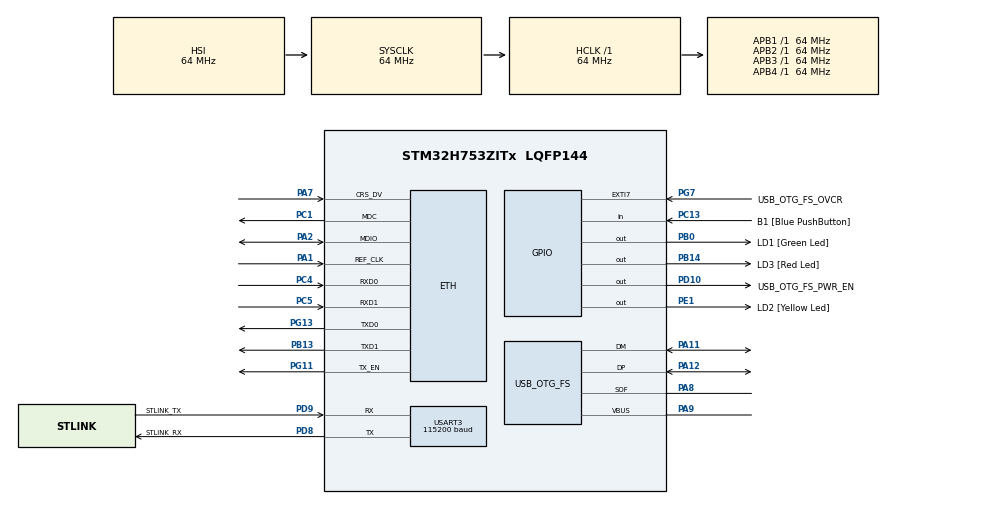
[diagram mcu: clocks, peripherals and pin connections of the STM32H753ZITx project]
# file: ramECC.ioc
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CORTEX_M7.CPU_DCache=Disabled
CORTEX_M7.CPU_ICache=Disabled
CORTEX_M7.MPU_Control=__NULL
ETH.ETH_RX_DESC_CNT=4
ETH.ETH_TX_DESC_CNT=4
ETH.MACAddr=00\:80\:E1\:00\:00\:00
ETH.MediaInterface=HAL_ETH_RMII_MODE
ETH.RxBuffAddress=0x30040200
ETH.RxBuffLen=1524
ETH.RxDescAddress=0x30040000
ETH.TxDescAddress=0x30040060
Mcu.Family=STM32H7
Mcu.Name=STM32H753ZITx
Mcu.Package=LQFP144
NVIC.PriorityGroup=NVIC_PRIORITYGROUP_4
PA1.Mode=RMII
PA1.Signal=ETH_REF_CLK
PA11.Mode=Device_Only
PA11.Signal=USB_OTG_FS_DM
PA12.Mode=Device_Only
PA12.Signal=USB_OTG_FS_DP
PA2.Mode=RMII
PA2.Signal=ETH_MDIO
PA7.Mode=RMII
PA7.Signal=ETH_CRS_DV
PA8.Mode=Activate_SOF_FS
PA8.Signal=USB_OTG_FS_SOF
PA9.Mode=Activate_VBUS
PA9.Signal=USB_OTG_FS_VBUS
PB0.GPIO_Label=LD1 [Green Led]
PB0.Signal=GPIO_Output
PB13.Mode=RMII
PB13.Signal=ETH_TXD1
PB14.GPIO_Label=LD3 [Red Led]
PB14.Signal=GPIO_Output
PC1.Mode=RMII
PC1.Signal=ETH_MDC
PC13.GPIO_Label=B1 [Blue PushButton]
PC13.Signal=GPIO_Input
PC14-OSC32_IN\ (OSC32_IN).Mode=LSE-External-Oscillator
PC14-OSC32_IN\ (OSC32_IN).Signal=RCC_OSC32_IN
PC15-OSC32_OUT\ (OSC32_OUT).Mode=LSE-External-Oscillator
PC15-OSC32_OUT\ (OSC32_OUT).Signal=RCC_OSC32_OUT
PC4.Mode=RMII
PC4.Signal=ETH_RXD0
PC5.Mode=RMII
PC5.Signal=ETH_RXD1
PD10.GPIO_Label=USB_OTG_FS_PWR_EN
PD10.Signal=GPIO_Output
PD8.GPIO_Label=STLINK_RX
PD8.Mode=Asynchronous
PD8.Signal=USART3_TX
PD9.GPIO_Label=STLINK_TX
PD9.Mode=Asynchronous
PD9.Signal=USART3_RX
PE1.GPIO_Label=LD2 [Yellow Led]
PE1.Signal=GPIO_Output
PG11.Mode=RMII
PG11.Signal=ETH_TX_EN
PG13.Mode=RMII
PG13.Signal=ETH_TXD0
PG7.GPIO_Label=USB_OTG_FS_OVCR
PG7.Signal=GPXTI7
PH0-OSC_IN\ (PH0).Mode=HSE-External-Clock-Source
PH0-OSC_IN\ (PH0).Signal=RCC_OSC_IN
PH1-OSC_OUT\ (PH1).Signal=RCC_OSC_OUT
ProjectManager.HeapSize=0x200
ProjectManager.StackSize=0x400
ProjectManager.TargetToolchain=STM32CubeIDE
RAMECC.Instance-RAMECC1_Monitor1=RAMECC1_Monitor1
RAMECC.Instance-RAMECC1_Monitor2=RAMECC1_Monitor2
RAMECC.Instance-RAMECC1_Monitor3=RAMECC1_Monitor3
RAMECC.Instance-RAMECC1_Monitor4=RAMECC1_Monitor4
RAMECC.Instance-RAMECC1_Monitor5=RAMECC1_Monitor5
RAMECC.Instance-RAMECC2_Monitor1=RAMECC2_Monitor1
RAMECC.Instance-RAMECC2_Monitor2=RAMECC2_Monitor2
RAMECC.Instance-RAMECC2_Monitor3=RAMECC2_Monitor3
RAMECC.Instance-RAMECC2_Monitor4=RAMECC2_Monitor4
RAMECC.Instance-RAMECC2_Monitor5=RAMECC2_Monitor5
RAMECC.Instance-RAMECC3_Monitor1=RAMECC3_Monitor1
RAMECC.Instance-RAMECC3_Monitor2=RAMECC3_Monitor2
RCC.ADCFreq_Value=16125000
RCC.APB1Freq_Value=64000000
RCC.APB2Freq_Value=64000000
RCC.APB3Freq_Value=64000000
RCC.APB4Freq_Value=64000000
RCC.CortexFreq_Value=64000000
RCC.DIVM1=1
RCC.DIVN1=24
RCC.DIVQ1=4
RCC.HCLKFreq_Value=64000000
RCC.HSE_VALUE=8000000
RCC.PLLFRACN=0
RCC.PWR_Regulator_Voltage_Scale=PWR_REGULATOR_VOLTAGE_SCALE2
RCC.SYSCLKFreq_VALUE=64000000
RCC.USBFreq_Value=48000000
USART3.AutoBaudRateEnableParam=UART_ADVFEATURE_AUTOBAUDRATE_DISABLE
USART3.BaudRate=115200
USART3.ClockPrescaler=PRESCALER_DIV1
USART3.DMADisableonRxErrorParam=ADVFEATURE_DMA_ENABLEONRXERROR
USART3.DataInvertParam=ADVFEATURE_DATAINV_DISABLE
USART3.FIFOMode=FIFOMODE_DISABLE
USART3.MSBFirstParam=ADVFEATURE_MSBFIRST_DISABLE
USART3.Mode=MODE_TX_RX
USART3.OneBitSampling=UART_ONE_BIT_SAMPLE_DISABLE
USART3.OverSampling=UART_OVERSAMPLING_16
USART3.OverrunDisableParam=ADVFEATURE_OVERRUN_ENABLE
USART3.Parity=PARITY_NONE
USART3.RXFIFOThreshold=RXFIFO_THRESHOLD_1EIGHTHFULL
USART3.RxPinLevelInvertParam=ADVFEATURE_RXINV_DISABLE
USART3.StopBits=STOPBITS_1
USART3.SwapParam=ADVFEATURE_SWAP_DISABLE
USART3.TXFIFOThreshold=TXFIFO_THRESHOLD_1EIGHTHFULL
USART3.TxPinLevelInvertParam=ADVFEATURE_TXINV_DISABLE
USART3.VirtualMode-Asynchronous=VM_ASYNC
USART3.WordLength=WORDLENGTH_8B
USB_OTG_FS.Sof_enable=ENABLE
USB_OTG_FS.VirtualMode=Device_Only
USB_OTG_FS.battery_charging_enable=ENABLE
USB_OTG_FS.low_power_enable=DISABLE
USB_OTG_FS.lpm_enable=DISABLE
USB_OTG_FS.use_dedicated_ep1=DISABLE
USB_OTG_FS.vbus_sensing_enable=ENABLE
VP_RAMECC_VS_D1_1.Mode=RAMECC1_Monitor1
VP_RAMECC_VS_D1_2.Mode=RAMECC1_Monitor2
VP_RAMECC_VS_D1_3.Mode=RAMECC1_Monitor3
VP_RAMECC_VS_D1_4.Mode=RAMECC1_Monitor4
VP_RAMECC_VS_D1_5.Mode=RAMECC1_Monitor5
VP_RAMECC_VS_D2_1.Mode=RAMECC2_Monitor1
VP_RAMECC_VS_D2_2.Mode=RAMECC2_Monitor2
VP_RAMECC_VS_D2_3.Mode=RAMECC2_Monitor3
VP_RAMECC_VS_D2_4.Mode=RAMECC2_Monitor4
VP_RAMECC_VS_D2_5.Mode=RAMECC2_Monitor5
VP_RAMECC_VS_D3_1.Mode=RAMECC3_Monitor1
VP_RAMECC_VS_D3_2.Mode=RAMECC3_Monitor2
board=NUCLEO-H753ZI

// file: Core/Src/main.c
/* USER CODE BEGIN Header */
/**
  ******************************************************************************
  * @file           : main.c
  * @brief          : Main program body
  ******************************************************************************
  * @attention
  *
  * Copyright (c) 2024 STMicroelectronics.
  * All rights reserved.
  *
  * This software is licensed under terms that can be found in the LICENSE file
  * in the root directory of this software component.
  * If no LICENSE file comes with this software, it is provided AS-IS.
  *
  ******************************************************************************
  */
/* USER CODE END Header */
#include "main.h"
#include "string.h"

#if defined ( __ICCARM__ ) /*!< IAR Compiler */
#pragma location=0x30040000
ETH_DMADescTypeDef  DMARxDscrTab[ETH_RX_DESC_CNT]; /* Ethernet Rx DMA Descriptors */
#pragma location=0x30040060
ETH_DMADescTypeDef  DMATxDscrTab[ETH_TX_DESC_CNT]; /* Ethernet Tx DMA Descriptors */

#elif defined ( __CC_ARM )  /* MDK ARM Compiler */

__attribute__((at(0x30040000))) ETH_DMADescTypeDef  DMARxDscrTab[ETH_RX_DESC_CNT]; /* Ethernet Rx DMA Descriptors */
__attribute__((at(0x30040060))) ETH_DMADescTypeDef  DMATxDscrTab[ETH_TX_DESC_CNT]; /* Ethernet Tx DMA Descriptors */

#elif defined ( __GNUC__ ) /* GNU Compiler */
ETH_DMADescTypeDef DMARxDscrTab[ETH_RX_DESC_CNT] __attribute__((section(".RxDecripSection"))); /* Ethernet Rx DMA Descriptors */
ETH_DMADescTypeDef DMATxDscrTab[ETH_TX_DESC_CNT] __attribute__((section(".TxDecripSection")));   /* Ethernet Tx DMA Descriptors */

#endif

ETH_TxPacketConfig TxConfig;

ETH_HandleTypeDef heth;

RAMECC_HandleTypeDef hramecc1_m1;
RAMECC_HandleTypeDef hramecc1_m2;
RAMECC_HandleTypeDef hramecc1_m3;
RAMECC_HandleTypeDef hramecc1_m4;
RAMECC_HandleTypeDef hramecc1_m5;
RAMECC_HandleTypeDef hramecc2_m1;
RAMECC_HandleTypeDef hramecc2_m2;
RAMECC_HandleTypeDef hramecc2_m3;
RAMECC_HandleTypeDef hramecc2_m4;
RAMECC_HandleTypeDef hramecc2_m5;
RAMECC_HandleTypeDef hramecc3_m1;
RAMECC_HandleTypeDef hramecc3_m2;

UART_HandleTypeDef huart3;

PCD_HandleTypeDef hpcd_USB_OTG_FS;

void SystemClock_Config(void);
static void MX_GPIO_Init(void);
static void MX_ETH_Init(void);
static void MX_USART3_UART_Init(void);
static void MX_USB_OTG_FS_PCD_Init(void);
static void MX_RAMECC_Init(void);
/* USER CODE BEGIN PFP */
void enable_ramecc_monitor_notifications(RAMECC_HandleTypeDef *hramecc);
/* USER CODE END PFP */

/* USER CODE BEGIN 0 */
#define ITCM_START_ADDRESS 0x00000000
#define ITCM_END_ADDRESS   0x0000FFFF

#define DTCM_START_ADDRESS 0x20000000
#define DTCM_END_ADDRESS 0x2001FFFF

#define AXI_START_ADDRESS 0x24000000
#define AXI_END_ADDRESS 0x2407FFFF

#define SRAM1_START_ADDRESS 0x30000000
#define SRAM1_END_ADDRESS 0x3001FFFF

#define SRAM2_START_ADDRESS 0x30020000
#define SRAM2_END_ADDRESS 0x3003FFFF

#define SRAM3_START_ADDRESS 0x30040000
#define SRAM3_END_ADDRESS 0x30047FFF

#define SRAM4_START_ADDRESS 0x38000000
#define SRAM4_END_ADDRESS 0x3800FFFF

#define BACKUP_START_ADDRESS 0x38800000
#define BACKUP_END_ADDRESS 0x38800FFF

void read_RAM(volatile uint32_t *start, volatile uint32_t *end)
{
	volatile uint32_t value;

	while (start <= end)
	{
		value = *start;
		start++;
	}
}

void write_RAM(volatile uint32_t *start, volatile uint32_t *end)
{
	while (start <= end)
	{
		*start = 0;
		start++;
	}
}

void PerformMemoryCheck(void)
{
	read_RAM((volatile uint32_t *)ITCM_START_ADDRESS, (volatile uint32_t *)ITCM_END_ADDRESS);
	read_RAM((volatile uint32_t *)DTCM_START_ADDRESS, (volatile uint32_t *)DTCM_END_ADDRESS);
	read_RAM((volatile uint32_t *)AXI_START_ADDRESS, (volatile uint32_t *)AXI_END_ADDRESS);
	read_RAM((volatile uint32_t *)SRAM1_START_ADDRESS, (volatile uint32_t *)SRAM1_END_ADDRESS);
	read_RAM((volatile uint32_t *)SRAM2_START_ADDRESS, (volatile uint32_t *)SRAM2_END_ADDRESS);
	read_RAM((volatile uint32_t *)SRAM3_START_ADDRESS, (volatile uint32_t *)SRAM3_END_ADDRESS);
	read_RAM((volatile uint32_t *)SRAM4_START_ADDRESS, (volatile uint32_t *)SRAM4_END_ADDRESS);
	read_RAM((volatile uint32_t *)BACKUP_START_ADDRESS, (volatile uint32_t *)BACKUP_END_ADDRESS);
}

/* USER CODE END 0 */

int main(void)
{

  /* MCU Configuration--------------------------------------------------------*/

  /* Reset of all peripherals, Initializes the Flash interface and the Systick. */
  HAL_Init();

  /* Configure the system clock */
  SystemClock_Config();

  /* Initialize all configured peripherals */
  MX_GPIO_Init();
  MX_ETH_Init();
  MX_USART3_UART_Init();
  MX_USB_OTG_FS_PCD_Init();
  MX_RAMECC_Init();
  /* USER CODE BEGIN 2 */
  PerformMemoryCheck();
  /* USER CODE END 2 */

  /* Infinite loop */
  while (1)
  {

  }
}

void SystemClock_Config(void)
{
  RCC_OscInitTypeDef RCC_OscInitStruct = {0};
  RCC_ClkInitTypeDef RCC_ClkInitStruct = {0};

  /** Supply configuration update enable
  */
  HAL_PWREx_ConfigSupply(PWR_LDO_SUPPLY);

  /** Configure the main internal regulator output voltage
  */
  __HAL_PWR_VOLTAGESCALING_CONFIG(PWR_REGULATOR_VOLTAGE_SCALE2);

  while(!__HAL_PWR_GET_FLAG(PWR_FLAG_VOSRDY)) {}

  /** Initializes the RCC Oscillators according to the specified parameters
  * in the RCC_OscInitTypeDef structure.
  */
  RCC_OscInitStruct.OscillatorType = RCC_OSCILLATORTYPE_HSI|RCC_OSCILLATORTYPE_HSE;
  RCC_OscInitStruct.HSEState = RCC_HSE_BYPASS;
  RCC_OscInitStruct.HSIState = RCC_HSI_DIV1;
  RCC_OscInitStruct.HSICalibrationValue = RCC_HSICALIBRATION_DEFAULT;
  RCC_OscInitStruct.PLL.PLLState = RCC_PLL_ON;
  RCC_OscInitStruct.PLL.PLLSource = RCC_PLLSOURCE_HSE;
  RCC_OscInitStruct.PLL.PLLM = 1;
  RCC_OscInitStruct.PLL.PLLN = 24;
  RCC_OscInitStruct.PLL.PLLP = 2;
  RCC_OscInitStruct.PLL.PLLQ = 4;
  RCC_OscInitStruct.PLL.PLLR = 2;
  RCC_OscInitStruct.PLL.PLLRGE = RCC_PLL1VCIRANGE_3;
  RCC_OscInitStruct.PLL.PLLVCOSEL = RCC_PLL1VCOWIDE;
  RCC_OscInitStruct.PLL.PLLFRACN = 0;
  if (HAL_RCC_OscConfig(&RCC_OscInitStruct) != HAL_OK)
  {
    Error_Handler();
  }

  /** Initializes the CPU, AHB and APB buses clocks
  */
  RCC_ClkInitStruct.ClockType = RCC_CLOCKTYPE_HCLK|RCC_CLOCKTYPE_SYSCLK
                              |RCC_CLOCKTYPE_PCLK1|RCC_CLOCKTYPE_PCLK2
                              |RCC_CLOCKTYPE_D3PCLK1|RCC_CLOCKTYPE_D1PCLK1;
  RCC_ClkInitStruct.SYSCLKSource = RCC_SYSCLKSOURCE_HSI;
  RCC_ClkInitStruct.SYSCLKDivider = RCC_SYSCLK_DIV1;
  RCC_ClkInitStruct.AHBCLKDivider = RCC_HCLK_DIV1;
  RCC_ClkInitStruct.APB3CLKDivider = RCC_APB3_DIV1;
  RCC_ClkInitStruct.APB1CLKDivider = RCC_APB1_DIV1;
  RCC_ClkInitStruct.APB2CLKDivider = RCC_APB2_DIV1;
  RCC_ClkInitStruct.APB4CLKDivider = RCC_APB4_DIV1;

  if (HAL_RCC_ClockConfig(&RCC_ClkInitStruct, FLASH_LATENCY_1) != HAL_OK)
  {
    Error_Handler();
  }
}

static void MX_ETH_Init(void)
{

   static uint8_t MACAddr[6];

  heth.Instance = ETH;
  MACAddr[0] = 0x00;
  MACAddr[1] = 0x80;
  MACAddr[2] = 0xE1;
  MACAddr[3] = 0x00;
  MACAddr[4] = 0x00;
  MACAddr[5] = 0x00;
  heth.Init.MACAddr = &MACAddr[0];
  heth.Init.MediaInterface = HAL_ETH_RMII_MODE;
  heth.Init.TxDesc = DMATxDscrTab;
  heth.Init.RxDesc = DMARxDscrTab;
  heth.Init.RxBuffLen = 1524;

  if (HAL_ETH_Init(&heth) != HAL_OK)
  {
    Error_Handler();
  }

  memset(&TxConfig, 0 , sizeof(ETH_TxPacketConfig));
  TxConfig.Attributes = ETH_TX_PACKETS_FEATURES_CSUM | ETH_TX_PACKETS_FEATURES_CRCPAD;
  TxConfig.ChecksumCtrl = ETH_CHECKSUM_IPHDR_PAYLOAD_INSERT_PHDR_CALC;
  TxConfig.CRCPadCtrl = ETH_CRC_PAD_INSERT;

}

static void MX_RAMECC_Init(void)
{

  /* USER CODE BEGIN RAMECC_Init 0 */
  write_RAM((volatile uint32_t *)ITCM_START_ADDRESS, (volatile uint32_t *)ITCM_END_ADDRESS);
  write_RAM((volatile uint32_t *)DTCM_START_ADDRESS, (volatile uint32_t *)DTCM_END_ADDRESS);
  write_RAM((volatile uint32_t *)AXI_START_ADDRESS, (volatile uint32_t *)AXI_END_ADDRESS);
  write_RAM((volatile uint32_t *)SRAM1_START_ADDRESS, (volatile uint32_t *)SRAM1_END_ADDRESS);
  write_RAM((volatile uint32_t *)SRAM2_START_ADDRESS, (volatile uint32_t *)SRAM2_END_ADDRESS);
  write_RAM((volatile uint32_t *)SRAM3_START_ADDRESS, (volatile uint32_t *)SRAM3_END_ADDRESS);
  write_RAM((volatile uint32_t *)SRAM4_START_ADDRESS, (volatile uint32_t *)SRAM4_END_ADDRESS);
  write_RAM((volatile uint32_t *)BACKUP_START_ADDRESS, (volatile uint32_t *)BACKUP_END_ADDRESS);
  /* USER CODE END RAMECC_Init 0 */

  /** Initialize RAMECC1 M1 : AXI SRAM
  */
  hramecc1_m1.Instance = RAMECC1_Monitor1;
  if (HAL_RAMECC_Init(&hramecc1_m1) != HAL_OK)
  {
    Error_Handler();
  }

  /** Initialize RAMECC1 M2 : ITCM-RAM
  */
  hramecc1_m2.Instance = RAMECC1_Monitor2;
  if (HAL_RAMECC_Init(&hramecc1_m2) != HAL_OK)
  {
    Error_Handler();
  }

  /** Initialize RAMECC1 M3 : D0TCM-RAM
  */
  hramecc1_m3.Instance = RAMECC1_Monitor3;
  if (HAL_RAMECC_Init(&hramecc1_m3) != HAL_OK)
  {
    Error_Handler();
  }

  /** Initialize RAMECC1 M4 : D1TCM-RAM
  */
  hramecc1_m4.Instance = RAMECC1_Monitor4;
  if (HAL_RAMECC_Init(&hramecc1_m4) != HAL_OK)
  {
    Error_Handler();
  }

  /** Initialize RAMECC1 M5 : ETM RAM
  */
  hramecc1_m5.Instance = RAMECC1_Monitor5;
  if (HAL_RAMECC_Init(&hramecc1_m5) != HAL_OK)
  {
    Error_Handler();
  }

  /** Initialize RAMECC2 M1 : SRAM1_0
  */
  hramecc2_m1.Instance = RAMECC2_Monitor1;
  if (HAL_RAMECC_Init(&hramecc2_m1) != HAL_OK)
  {
    Error_Handler();
  }

  /** Initialize RAMECC2 M2 SRAM1_1
  */
  hramecc2_m2.Instance = RAMECC2_Monitor2;
  if (HAL_RAMECC_Init(&hramecc2_m2) != HAL_OK)
  {
    Error_Handler();
  }

  /** Initialize RAMECC2 M3 : SRAM2_0
  */
  hramecc2_m3.Instance = RAMECC2_Monitor3;
  if (HAL_RAMECC_Init(&hramecc2_m3) != HAL_OK)
  {
    Error_Handler();
  }

  /** Initialize RAMECC2 M4 : SRAM2_1
  */
  hramecc2_m4.Instance = RAMECC2_Monitor4;
  if (HAL_RAMECC_Init(&hramecc2_m4) != HAL_OK)
  {
    Error_Handler();
  }

  /** Initialize RAMECC2 M5 : SRAM3
  */
  hramecc2_m5.Instance = RAMECC2_Monitor5;
  if (HAL_RAMECC_Init(&hramecc2_m5) != HAL_OK)
  {
    Error_Handler();
  }

  /** Initialize RAMECC3 M1 : SRAM4
  */
  hramecc3_m1.Instance = RAMECC3_Monitor1;
  if (HAL_RAMECC_Init(&hramecc3_m1) != HAL_OK)
  {
    Error_Handler();
  }

  /** Initialize RAMECC3 M2 : Backup RAM
  */
  hramecc3_m2.Instance = RAMECC3_Monitor2;
  if (HAL_RAMECC_Init(&hramecc3_m2) != HAL_OK)
  {
    Error_Handler();
  }
  /* USER CODE BEGIN RAMECC_Init 2 */
  HAL_NVIC_SetPriority(ECC_IRQn, 0, 0);
  HAL_NVIC_EnableIRQ(ECC_IRQn);

  enable_ramecc_monitor_notifications(&hramecc1_m1);
  enable_ramecc_monitor_notifications(&hramecc1_m2);
  enable_ramecc_monitor_notifications(&hramecc1_m3);
  enable_ramecc_monitor_notifications(&hramecc1_m4);
  enable_ramecc_monitor_notifications(&hramecc1_m5);
  enable_ramecc_monitor_notifications(&hramecc2_m1);
  enable_ramecc_monitor_notifications(&hramecc2_m2);
  enable_ramecc_monitor_notifications(&hramecc2_m3);
  enable_ramecc_monitor_notifications(&hramecc2_m4);
  enable_ramecc_monitor_notifications(&hramecc2_m5);
  enable_ramecc_monitor_notifications(&hramecc3_m1);
  enable_ramecc_monitor_notifications(&hramecc3_m2);

//  hramecc3_m2.Instance->SR |= 0x1;
//  HAL_RAMECC_IRQHandler(&hramecc3_m2);

  /* USER CODE END RAMECC_Init 2 */

}

static void MX_USART3_UART_Init(void)
{

  huart3.Instance = USART3;
  huart3.Init.BaudRate = 115200;
  huart3.Init.WordLength = UART_WORDLENGTH_8B;
  huart3.Init.StopBits = UART_STOPBITS_1;
  huart3.Init.Parity = UART_PARITY_NONE;
  huart3.Init.Mode = UART_MODE_TX_RX;
  huart3.Init.HwFlowCtl = UART_HWCONTROL_NONE;
  huart3.Init.OverSampling = UART_OVERSAMPLING_16;
  huart3.Init.OneBitSampling = UART_ONE_BIT_SAMPLE_DISABLE;
  huart3.Init.ClockPrescaler = UART_PRESCALER_DIV1;
  huart3.AdvancedInit.AdvFeatureInit = UART_ADVFEATURE_NO_INIT;
  if (HAL_UART_Init(&huart3) != HAL_OK)
  {
    Error_Handler();
  }
  if (HAL_UARTEx_SetTxFifoThreshold(&huart3, UART_TXFIFO_THRESHOLD_1_8) != HAL_OK)
  {
    Error_Handler();
  }
  if (HAL_UARTEx_SetRxFifoThreshold(&huart3, UART_RXFIFO_THRESHOLD_1_8) != HAL_OK)
  {
    Error_Handler();
  }
  if (HAL_UARTEx_DisableFifoMode(&huart3) != HAL_OK)
  {
    Error_Handler();
  }

}

static void MX_USB_OTG_FS_PCD_Init(void)
{

  hpcd_USB_OTG_FS.Instance = USB_OTG_FS;
  hpcd_USB_OTG_FS.Init.dev_endpoints = 9;
  hpcd_USB_OTG_FS.Init.speed = PCD_SPEED_FULL;
  hpcd_USB_OTG_FS.Init.dma_enable = DISABLE;
  hpcd_USB_OTG_FS.Init.phy_itface = PCD_PHY_EMBEDDED;
  hpcd_USB_OTG_FS.Init.Sof_enable = ENABLE;
  hpcd_USB_OTG_FS.Init.low_power_enable = DISABLE;
  hpcd_USB_OTG_FS.Init.lpm_enable = DISABLE;
  hpcd_USB_OTG_FS.Init.battery_charging_enable = ENABLE;
  hpcd_USB_OTG_FS.Init.vbus_sensing_enable = ENABLE;
  hpcd_USB_OTG_FS.Init.use_dedicated_ep1 = DISABLE;
  if (HAL_PCD_Init(&hpcd_USB_OTG_FS) != HAL_OK)
  {
    Error_Handler();
  }

}

static void MX_GPIO_Init(void)
{
  GPIO_InitTypeDef GPIO_InitStruct = {0};

  /* GPIO Ports Clock Enable */
  __HAL_RCC_GPIOC_CLK_ENABLE();
  __HAL_RCC_GPIOH_CLK_ENABLE();
  __HAL_RCC_GPIOA_CLK_ENABLE();
  __HAL_RCC_GPIOB_CLK_ENABLE();
  __HAL_RCC_GPIOD_CLK_ENABLE();
  __HAL_RCC_GPIOG_CLK_ENABLE();
  __HAL_RCC_GPIOE_CLK_ENABLE();

  /*Configure GPIO pin Output Level */
  HAL_GPIO_WritePin(GPIOB, LD1_Pin|LD3_Pin, GPIO_PIN_RESET);

  /*Configure GPIO pin Output Level */
  HAL_GPIO_WritePin(USB_OTG_FS_PWR_EN_GPIO_Port, USB_OTG_FS_PWR_EN_Pin, GPIO_PIN_RESET);

  /*Configure GPIO pin Output Level */
  HAL_GPIO_WritePin(LD2_GPIO_Port, LD2_Pin, GPIO_PIN_RESET);

  /*Configure GPIO pin : B1_Pin */
  GPIO_InitStruct.Pin = B1_Pin;
  GPIO_InitStruct.Mode = GPIO_MODE_INPUT;
  GPIO_InitStruct.Pull = GPIO_NOPULL;
  HAL_GPIO_Init(B1_GPIO_Port, &GPIO_InitStruct);

  /*Configure GPIO pins : LD1_Pin LD3_Pin */
  GPIO_InitStruct.Pin = LD1_Pin|LD3_Pin;
  GPIO_InitStruct.Mode = GPIO_MODE_OUTPUT_PP;
  GPIO_InitStruct.Pull = GPIO_NOPULL;
  GPIO_InitStruct.Speed = GPIO_SPEED_FREQ_LOW;
  HAL_GPIO_Init(GPIOB, &GPIO_InitStruct);

  /*Configure GPIO pin : USB_OTG_FS_PWR_EN_Pin */
  GPIO_InitStruct.Pin = USB_OTG_FS_PWR_EN_Pin;
  GPIO_InitStruct.Mode = GPIO_MODE_OUTPUT_PP;
  GPIO_InitStruct.Pull = GPIO_NOPULL;
  GPIO_InitStruct.Speed = GPIO_SPEED_FREQ_LOW;
  HAL_GPIO_Init(USB_OTG_FS_PWR_EN_GPIO_Port, &GPIO_InitStruct);

  /*Configure GPIO pin : USB_OTG_FS_OVCR_Pin */
  GPIO_InitStruct.Pin = USB_OTG_FS_OVCR_Pin;
  GPIO_InitStruct.Mode = GPIO_MODE_IT_RISING;
  GPIO_InitStruct.Pull = GPIO_NOPULL;
  HAL_GPIO_Init(USB_OTG_FS_OVCR_GPIO_Port, &GPIO_InitStruct);

  /*Configure GPIO pin : LD2_Pin */
  GPIO_InitStruct.Pin = LD2_Pin;
  GPIO_InitStruct.Mode = GPIO_MODE_OUTPUT_PP;
  GPIO_InitStruct.Pull = GPIO_NOPULL;
  GPIO_InitStruct.Speed = GPIO_SPEED_FREQ_LOW;
  HAL_GPIO_Init(LD2_GPIO_Port, &GPIO_InitStruct);

}

/* USER CODE BEGIN 4 */
void HAL_RAMECC_DetectErrorCallback(RAMECC_HandleTypeDef *hramecc) {
	uint32_t FAR;

	FAR = HAL_RAMECC_GetFailingAddress(hramecc);

	if ((HAL_RAMECC_GetRAMECCError(hramecc) & HAL_RAMECC_SINGLEERROR_DETECTED) != 0U) {
		HAL_GPIO_WritePin(LD1_GPIO_Port, LD1_Pin, 1);
	}

	if ((HAL_RAMECC_GetRAMECCError(hramecc) & HAL_RAMECC_DOUBLEERROR_DETECTED) != 0U) {
		HAL_GPIO_WritePin(LD2_GPIO_Port, LD2_Pin, 1);
	}

	hramecc->RAMECCErrorCode = HAL_RAMECC_NO_ERROR;
	HAL_GPIO_WritePin(LD3_GPIO_Port, LD3_Pin, 1);

}

void enable_ramecc_monitor_notifications(RAMECC_HandleTypeDef *hramecc) {
	if (HAL_RAMECC_EnableNotification(hramecc, (RAMECC_IT_MONITOR_SINGLEERR_R | RAMECC_IT_MONITOR_DOUBLEERR_R)) != HAL_OK) {
		Error_Handler();
	}
	if (HAL_RAMECC_StartMonitor(hramecc) != HAL_OK) {
		Error_Handler();
	}
}
/* USER CODE END 4 */

void Error_Handler(void)
{
  __disable_irq();
  while (1)
  {
  }
}
